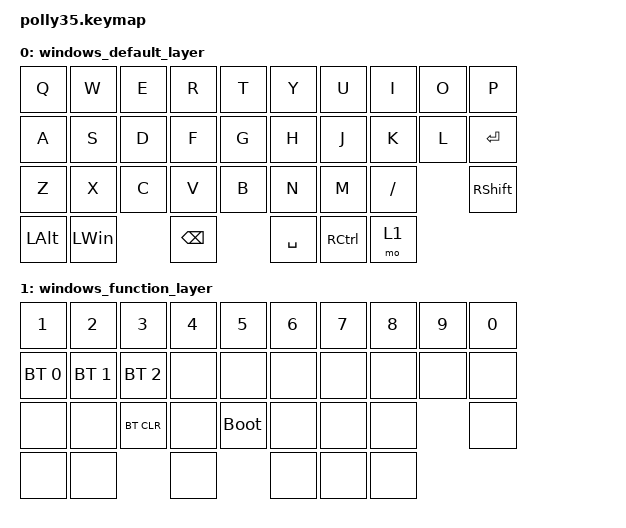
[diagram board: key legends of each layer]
#include <behaviors.dtsi>
#include <dt-bindings/zmk/keys.h>
#include <dt-bindings/zmk/bt.h>

/ {
    keymap {
        compatible = "zmk,keymap";

        windows_default_layer {
            bindings = <
                &kp Q     &kp W     &kp E     &kp R     &kp T     &kp Y     &kp U     &kp I     &kp O     &kp P
                &kp A     &kp S     &kp D     &kp F     &kp G     &kp H     &kp J     &kp K     &kp L     &kp ENTER
                &kp Z     &kp X     &kp C     &kp V     &kp B     &kp N     &kp M     &kp FSLH            &kp RSHFT
                &kp LALT  &kp LWIN            &kp BSPC            &kp SPACE &kp RCTRL &mo 1
            >;
        };

        windows_function_layer {
            bindings =<
                &kp N1       &kp N2       &kp N3       &kp N4    &kp N5          &kp N6    &kp N7    &kp N8    &kp N9    &kp N0
                &bt BT_SEL 0 &bt BT_SEL 1 &bt BT_SEL 2 &none     &none           &none     &none     &none     &none     &none
                &none        &none        &bt BT_CLR   &none     &bootloader     &none     &none     &none               &none
                &none        &none                     &none                     &none     &none     &none
            >;
        };
    };
};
